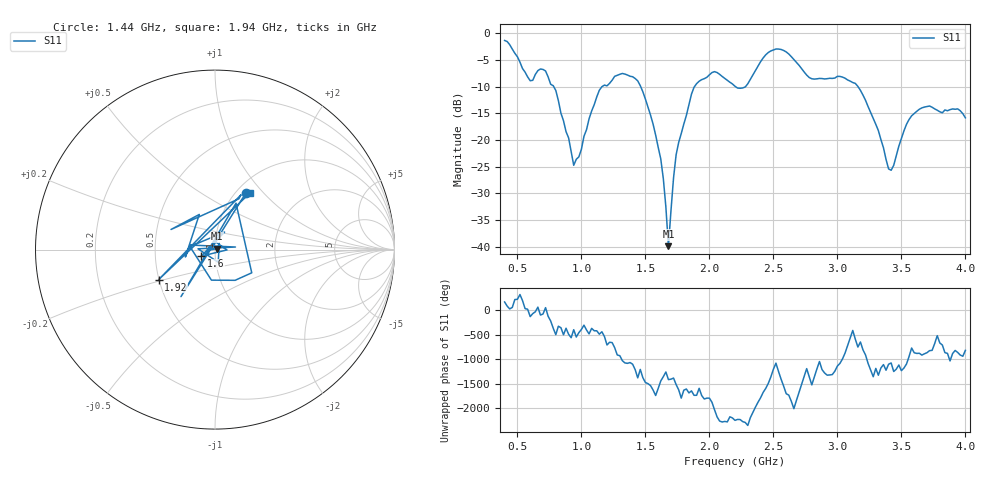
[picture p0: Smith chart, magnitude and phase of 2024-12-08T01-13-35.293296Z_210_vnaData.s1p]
!Created with skrf (http://scikit-rf.org).
# Hz S RI R 50.0
!freq ReS11 ImS11
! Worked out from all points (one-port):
!   181 points, 400 MHz to 4 GHz, reference 50 ohm
!   lowest |S11| = -39.9 dB at 1.68 GHz (marker M1), VSWR 1.02, Z = 50.9 + j0.451 ohm
!   |S11| at or under -10 dB: 784.2 MHz to 1.16 GHz (375.7 MHz wide, 38.6 % of centre); 1.463 GHz to 1.883 GHz (419.6 MHz wide, 25.1 % of centre); 3.162 GHz to end of sweep (the widest 3 of 4)
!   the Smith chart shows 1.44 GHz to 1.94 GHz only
!   S11 on the Smith chart (normalised r, x): 1.44 GHz: 1.11, +0.80; 1.6 GHz: 0.85, -0.06; 1.92 GHz: 0.50, -0.19; 1.94 GHz: 1.15, +0.84
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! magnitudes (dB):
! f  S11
! 400 MHz  -1.3
! 600 MHz  -8.9
! 720 MHz  -7.0
! 860 MHz  -16.4
! 940 MHz  -24.7
! 1.14 GHz  -10.7
! 1.3 GHz  -7.7
! 1.44 GHz  -8.9
! 1.6 GHz  -21.4
! 1.64 GHz  -27.3
! 1.68 GHz  -39.9
! 1.72 GHz  -27.1
! 1.76 GHz  -20.5
! 1.86 GHz  -11.4
! 1.92 GHz  -9.0
! 1.94 GHz  -8.7
! 2.04 GHz  -7.2
! 2.2 GHz  -9.9
! 2.28 GHz  -10.0
! 2.48 GHz  -3.3
! 2.66 GHz  -4.9
! 2.8 GHz  -8.5
! 3.1 GHz  -8.9
! 3.22 GHz  -12.6
! 3.4 GHz  -25.4
! 3.56 GHz  -16.1
! 3.72 GHz  -13.6
! 4 GHz  -15.8
